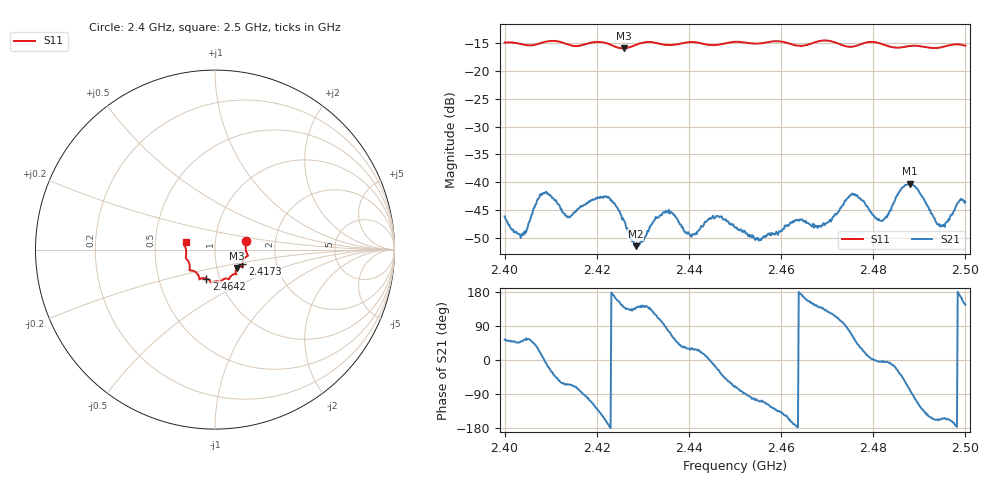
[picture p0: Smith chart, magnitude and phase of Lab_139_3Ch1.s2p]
# Hz S RI R 50
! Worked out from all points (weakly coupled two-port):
!   601 points, 2.4 GHz to 2.5 GHz, reference 50 ohm
!   highest |S21| = -40.30 dB at 2.488 GHz (marker M1); lowest = -51.5 dB at 2.4285 GHz (marker M2)
!   lowest |S11| = -15.9 dB at 2.4258 GHz (marker M3), VSWR 1.38, Z = 62.3 - j13.3 ohm
!   |S11| at or under -10 dB: start of sweep to end of sweep
!   S12 and S22 are empty: the file has one direction only
!   S11 on the Smith chart (normalised r, x): 2.4 GHz: 1.41, +0.15; 2.4173 GHz: 1.34, -0.23; 2.4642 GHz: 0.86, -0.29; 2.5 GHz: 0.72, +0.06
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2.4e9  0.1733 0.0497  0.00288 0.00399  0 0  0 0
2.403833e9  0.1719 0.027  0.00227 0.00259  0 0  0 0
2.4085e9  0.18 -0.0251  0.00802 0.000408  0 0  0 0
2.413833e9  0.1667 -0.0451  0.00214 -0.00443  0 0  0 0
2.416667e9  0.1531 -0.0744  0.000558 -0.00599  0 0  0 0
2.417333e9  0.1526 -0.082  -0.000307 -0.00624  0 0  0 0
2.422333e9  0.1497 -0.0938  -0.00711 -0.00155  0 0  0 0
2.425833e9  0.1214 -0.1038  -0.00347 0.00295  0 0  0 0
2.4285e9  0.1154 -0.1277  -0.00199 0.00177  0 0  0 0
2.433333e9  0.1128 -0.1365  -0.00165 0.00452  0 0  0 0
2.4405e9  0.0792 -0.1644  0.00281 0.00157  0 0  0 0
2.445667e9  0.0501 -0.1638  0.0046 -0.00128  0 0  0 0
2.45e9  0.0297 -0.1808  0.00139 -0.00364  0 0  0 0
2.455333e9  -0.00105 -0.1771  -0.000987 -0.00286  0 0  0 0
2.464167e9  -0.0484 -0.1613  -0.00455 0.000349  0 0  0 0
2.466667e9  -0.0763 -0.1599  -0.00349 0.00193  0 0  0 0
2.4755e9  -0.1114 -0.1225  0.00352 0.00708  0 0  0 0
2.481167e9  -0.1423 -0.1086  0.00465 -0.000379  0 0  0 0
2.483333e9  -0.141 -0.0897  0.00511 -0.000574  0 0  0 0
2.488e9  -0.1604 -0.0506  0.00163 -0.00953  0 0  0 0
2.494333e9  -0.1622 0.00247  -0.00385 -0.00168  0 0  0 0
2.5e9  -0.164 0.0418  -0.00551 0.00378  0 0  0 0
